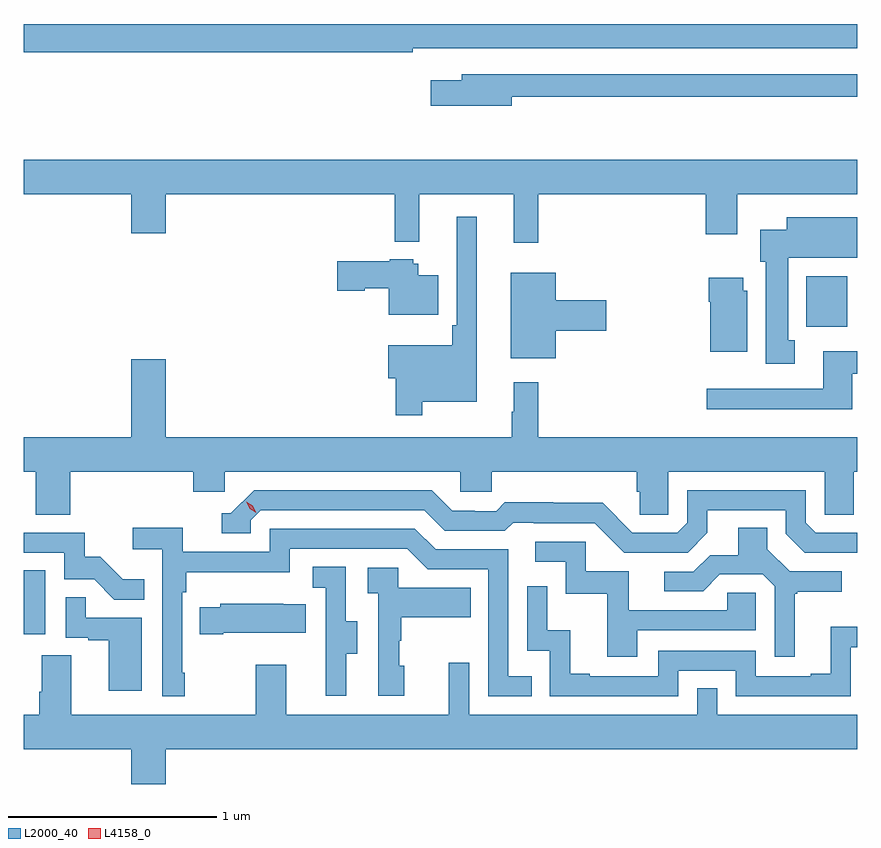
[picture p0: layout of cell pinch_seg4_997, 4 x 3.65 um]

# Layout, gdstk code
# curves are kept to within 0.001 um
import gdstk
lib = gdstk.Library(unit=1e-6, precision=1e-09)
def R(c, l, rs):  # rectangles x0, y0, x1, y1
    for r in rs: c.add(gdstk.rectangle(r[:2], r[2:], *l))
def P(c, l, *ps):  # polygons
    for p in ps: c.add(gdstk.Polygon(p, *l))
L2000_40 = (2000, 40)
L4158_0 = (4158, 0)

pinch_seg4_997 = lib.new_cell('pinch_seg4_997')
R(pinch_seg4_997, L2000_40, [(811.844,780.054,811.948,780.361), (815.6,781.532,815.797,781.774)])
P(pinch_seg4_997, L2000_40, [(813.71,782.868),(815.844,782.868),(815.844,782.984),(811.844,782.984),(811.844,782.848),(813.71,782.848)],
  [(814.186,782.634),(815.844,782.634),(815.844,782.742),(813.947,782.742),(813.947,782.713),(813.798,782.713),(813.798,782.591),(814.186,782.591)],
  [(814.313,782.168),(815.117,782.168),(815.117,781.974),(815.269,781.974),(815.269,782.168),(815.844,782.168),(815.844,782.332),(811.844,782.332),(811.844,782.168),(812.36,782.168),(812.36,781.98),(812.524,781.98),(812.524,782.168),(813.625,782.168),(813.625,781.94),(813.743,781.94),(813.743,782.168),(814.196,782.168),(814.196,781.935),(814.313,781.935)],
  [(813.757,781.172),(814.018,781.172),(814.018,782.059),(813.921,782.059),(813.921,781.537),(813.901,781.537),(813.901,781.441),(813.594,781.441),(813.594,781.283),(813.628,781.283),(813.628,781.107),(813.757,781.107)],
  [(815.545,781.466),(815.512,781.466),(815.512,781.862),(815.844,781.862),(815.844,782.056),(815.507,782.056),(815.507,781.996),(815.378,781.996),(815.378,781.842),(815.405,781.842),(815.405,781.353),(815.545,781.353)],
  [(813.832,781.777),(813.736,781.777),(813.736,781.833),(813.714,781.833),(813.714,781.855),(813.6,781.855),(813.6,781.845),(813.348,781.845),(813.348,781.703),(813.48,781.703),(813.48,781.715),(813.596,781.715),(813.596,781.589),(813.832,781.589)],
  [(814.396,781.511),(814.639,781.511),(814.639,781.658),(814.396,781.658),(814.396,781.789),(814.181,781.789),(814.181,781.379),(814.396,781.379)],
  [(815.317,781.704),(815.296,781.704),(815.296,781.765),(815.131,781.765),(815.131,781.652),(815.138,781.652),(815.138,781.412),(815.317,781.412)],
  [(815.821,781.305),(815.844,781.305),(815.844,781.414),(815.681,781.414),(815.681,781.233),(815.121,781.233),(815.121,781.136),(815.821,781.136)],
  [(812.066,780.836),(812.657,780.836),(812.657,780.738),(812.808,780.738),(812.808,780.836),(813.939,780.836),(813.939,780.738),(814.089,780.738),(814.089,780.836),(814.787,780.836),(814.787,780.738),(814.801,780.738),(814.801,780.628),(814.938,780.628),(814.938,780.836),(815.688,780.836),(815.688,780.628),(815.827,780.628),(815.827,780.836),(815.844,780.836),(815.844,781),(814.313,781),(814.313,781.264),(814.196,781.264),(814.196,781.124),(814.185,781.124),(814.185,781),(812.524,781),(812.524,781.375),(812.36,781.375),(812.36,781),(811.844,781),(811.844,780.836),(811.901,780.836),(811.901,780.628),(812.066,780.628)],
  [(815.844,780.543),(815.646,780.543),(815.598,780.591),(815.598,780.747),(815.028,780.747),(815.028,780.591),(814.98,780.543),(814.764,780.543),(814.622,780.685),(814.386,780.685),(814.386,780.688),(814.153,780.688),(814.111,780.645),(814.008,780.645),(814.008,780.648),(813.901,780.648),(813.802,780.747),(812.949,780.747),(812.838,780.636),(812.795,780.636),(812.795,780.54),(812.934,780.54),(812.934,780.603),(812.982,780.651),(813.765,780.651),(813.864,780.552),(814.153,780.552),(814.192,780.591),(814.291,780.591),(814.291,780.588),(814.584,780.588),(814.725,780.447),(815.031,780.447),(815.125,780.541),(815.125,780.651),(815.502,780.651),(815.502,780.537),(815.592,780.447),(815.844,780.446)],
  [(815.545,780.249),(815.557,780.249),(815.557,780.26),(815.77,780.26),(815.77,780.357),(815.52,780.357),(815.413,780.464),(815.413,780.566),(815.273,780.566),(815.273,780.434),(815.138,780.434),(815.058,780.354),(814.917,780.354),(814.917,780.261),(815.104,780.261),(815.185,780.342),(815.391,780.342),(815.448,780.285),(815.448,779.946),(815.545,779.946)],
  [(812.617,779.869),(812.604,779.869),(812.604,780.257),(812.624,780.257),(812.624,780.353),(813.12,780.353),(813.12,780.465),(813.684,780.465),(813.783,780.366),(814.074,780.366),(814.074,779.757),(814.283,779.757),(814.283,779.853),(814.17,779.853),(814.17,780.462),(813.82,780.462),(813.721,780.561),(813.024,780.561),(813.024,780.45),(812.606,780.45),(812.606,780.566),(812.367,780.566),(812.367,780.464),(812.508,780.464),(812.508,779.757),(812.617,779.757)],
  [(812.423,780.319),(812.319,780.319),(812.212,780.426),(812.136,780.426),(812.136,780.543),(811.844,780.543),(811.844,780.447),(812.037,780.447),(812.037,780.318),(812.181,780.318),(812.279,780.22),(812.423,780.22)],
  [(814.789,780.075),(815.358,780.075),(815.358,780.255),(815.221,780.255),(815.221,780.171),(814.747,780.171),(814.747,780.357),(814.542,780.357),(814.542,780.498),(814.299,780.498),(814.299,780.402),(814.446,780.402),(814.446,780.249),(814.645,780.249),(814.645,779.946),(814.789,779.946)],
  [(813.391,779.962),(813.445,779.962),(813.445,780.117),(813.39,780.117),(813.39,780.38),(813.231,780.38),(813.231,780.277),(813.294,780.277),(813.294,779.973),(813.293,779.973),(813.293,779.76),(813.391,779.76)],
  [(813.67,779.904),(813.645,779.904),(813.645,780.023),(813.655,780.023),(813.655,780.137),(813.989,780.137),(813.989,780.277),(813.642,780.277),(813.642,780.375),(813.495,780.375),(813.495,780.251),(813.546,780.251),(813.546,779.76),(813.67,779.76)],
  [(814.986,779.88),(815.262,779.88),(815.262,779.757),(815.814,779.757),(815.814,779.993),(815.844,779.993),(815.844,780.091),(815.717,780.091),(815.717,779.866),(815.621,779.866),(815.621,779.853),(815.358,779.853),(815.358,779.976),(814.89,779.976),(814.89,779.853),(814.561,779.853),(814.561,779.866),(814.466,779.866),(814.466,780.074),(814.356,780.074),(814.356,780.286),(814.26,780.286),(814.26,779.976),(814.368,779.976),(814.368,779.757),(814.986,779.757)],
  [(812.41,780.135),(812.141,780.135),(812.141,780.233),(812.046,780.233),(812.046,780.039),(812.153,780.039),(812.153,780.027),(812.252,780.027),(812.252,779.784),(812.41,779.784)],
  [(812.8,780.062),(813.197,780.062),(813.197,780.199),(813.089,780.199),(813.089,780.202),(812.787,780.202),(812.787,780.184),(812.689,780.184),(812.689,780.055),(812.8,780.055)],
  [(812.524,779.504),(815.844,779.504),(815.844,779.668),(815.172,779.668),(815.172,779.795),(815.076,779.795),(815.076,779.668),(813.981,779.668),(813.981,779.917),(813.884,779.917),(813.884,779.668),(813.103,779.668),(813.103,779.908),(812.956,779.908),(812.956,779.668),(812.071,779.668),(812.071,779.954),(811.931,779.954),(811.931,779.78),(811.919,779.78),(811.919,779.668),(811.844,779.668),(811.844,779.504),(812.36,779.504),(812.36,779.336),(812.524,779.336)])
P(pinch_seg4_997, L4158_0, [(812.959,780.638),(812.928,780.657),(812.912,780.69),(812.912,780.69),(812.912,780.69),(812.943,780.671),(812.96,780.638),(812.96,780.638)])

lib.write_gds('pinch_seg4_997.gds')
